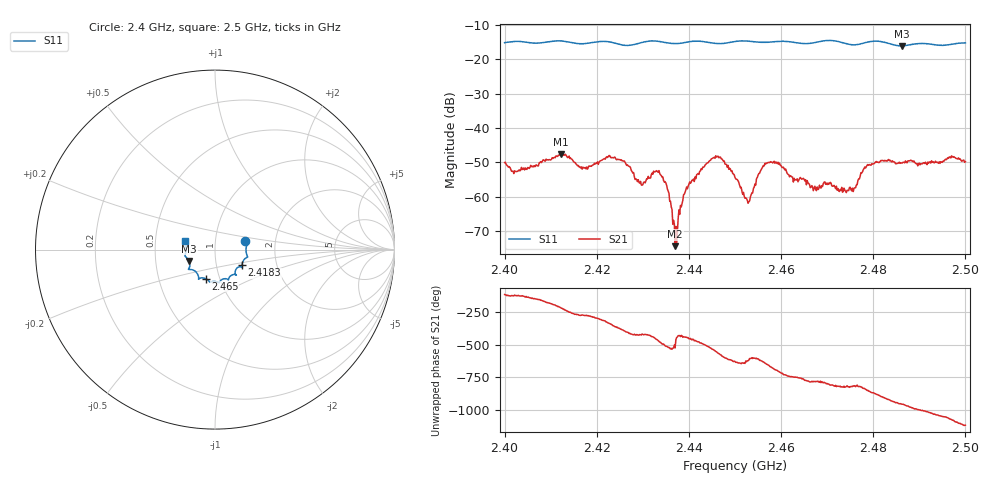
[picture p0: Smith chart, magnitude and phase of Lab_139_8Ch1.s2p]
# Hz S RI R 50
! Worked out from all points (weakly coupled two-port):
!   601 points, 2.4 GHz to 2.5 GHz, reference 50 ohm
!   highest |S21| = -47.63 dB at 2.4122 GHz (marker M1); lowest = -74.5 dB at 2.437 GHz (marker M2)
!   lowest |S11| = -16.1 dB at 2.4862 GHz (marker M3), VSWR 1.37, Z = 37.1 - j4.81 ohm
!   |S11| at or under -10 dB: start of sweep to end of sweep
!   S12 and S22 are empty: the file has one direction only
!   S11 on the Smith chart (normalised r, x): 2.4 GHz: 1.40, +0.13; 2.4183 GHz: 1.33, -0.24; 2.465 GHz: 0.86, -0.29; 2.5 GHz: 0.71, +0.07
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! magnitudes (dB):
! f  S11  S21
! 2.4 GHz  -15.1  -50.1
! 2.4122 GHz  -14.6  -47.6
! 2.4167 GHz  -15.4  -51.3
! 2.4183 GHz  -15.2  -51.1
! 2.4235 GHz  -15.1  -48.7
! 2.4297 GHz  -15.1  -56.6
! 2.4333 GHz  -14.7  -52.9
! 2.4352 GHz  -15.1  -56.7
! 2.437 GHz  -15.4  -74.5
! 2.4397 GHz  -15.0  -57.8
! 2.4443 GHz  -15.1  -49.8
! 2.4467 GHz  -15.4  -48.5
! 2.45 GHz  -14.8  -54.5
! 2.4527 GHz  -14.7  -61.1
! 2.457 GHz  -15.0  -50.3
! 2.465 GHz  -15.4  -55.0
! 2.4667 GHz  -15.3  -56.8
! 2.4757 GHz  -15.7  -58.6
! 2.4785 GHz  -15.0  -51.3
! 2.4833 GHz  -15.3  -49.2
! 2.4862 GHz  -16.1  -50.2
! 2.5 GHz  -15.2  -49.8
